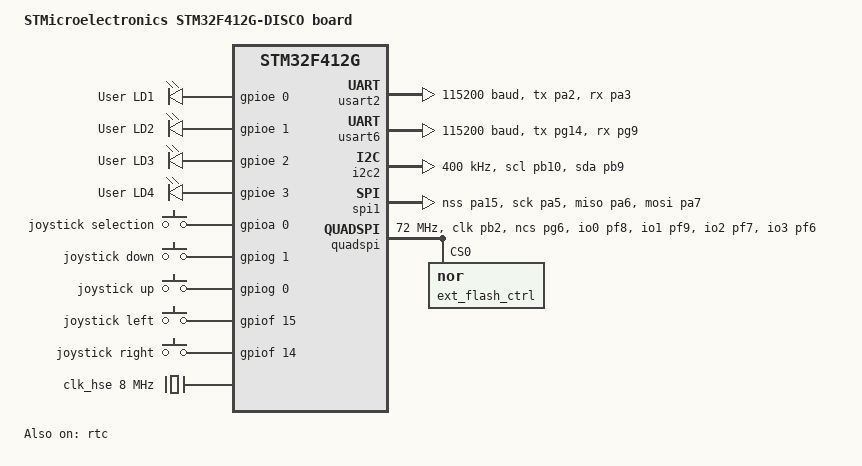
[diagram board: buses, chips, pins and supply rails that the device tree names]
/*
 * Copyright (c) 2017 Powersoft
 *
 * SPDX-License-Identifier: Apache-2.0
 */

/dts-v1/;
#include <st/f4/stm32f412Xg.dtsi>
#include <st/f4/stm32f412z(e-g)tx-pinctrl.dtsi>
#include "arduino_r3_connector.dtsi"
#include <zephyr/dt-bindings/input/input-event-codes.h>

/ {
	model = "STMicroelectronics STM32F412G-DISCO board";
	compatible = "st,stm32f412g-disco";

	chosen {
		zephyr,console = &usart2;
		zephyr,shell-uart = &usart2;
		zephyr,sram = &sram0;
		zephyr,flash = &flash0;
	};

	leds {
		compatible = "gpio-leds";

		green_led_1: led_1 {
			gpios = <&gpioe 0 GPIO_ACTIVE_HIGH>;
			label = "User LD1";
		};

		orange_led_2: led_2 {
			gpios = <&gpioe 1 GPIO_ACTIVE_HIGH>;
			label = "User LD2";
		};

		red_led_3: led_3 {
			gpios = <&gpioe 2 GPIO_ACTIVE_HIGH>;
			label = "User LD3";
		};

		blue_led_4: led_4 {
			gpios = <&gpioe 3 GPIO_ACTIVE_HIGH>;
			label = "User LD4";
		};
	};

	gpio_keys {
		compatible = "gpio-keys";

		joy_sel: joystick_selection {
			label = "joystick selection";
			gpios = <&gpioa 0 (GPIO_ACTIVE_HIGH | GPIO_PULL_DOWN)>;
			zephyr,code = <INPUT_KEY_ENTER>;
		};

		joy_down: joystick_down {
			label = "joystick down";
			gpios = <&gpiog 1 (GPIO_ACTIVE_HIGH | GPIO_PULL_DOWN)>;
			zephyr,code = <INPUT_KEY_DOWN>;
		};

		joy_up: joystick_up {
			label = "joystick up";
			gpios = <&gpiog 0 (GPIO_ACTIVE_HIGH | GPIO_PULL_DOWN)>;
			zephyr,code = <INPUT_KEY_UP>;
		};

		joy_left: joystick_left {
			label = "joystick left";
			gpios = <&gpiof 15 (GPIO_ACTIVE_HIGH | GPIO_PULL_DOWN)>;
			zephyr,code = <INPUT_KEY_LEFT>;
		};

		joy_right: joystick_right {
			label = "joystick right";
			gpios = <&gpiof 14 (GPIO_ACTIVE_HIGH | GPIO_PULL_DOWN)>;
			zephyr,code = <INPUT_KEY_RIGHT>;
		};
	};

	aliases {
		led0 = &green_led_1;
		led1 = &orange_led_2;
		led2 = &red_led_3;
		led3 = &blue_led_4;
		sw0 = &joy_sel;
		ext-nor0 = &ext_flash_ctrl;
	};
};

&clk_lsi {
	status = "okay";
};

&clk_hse {
	hse-bypass;
	clock-frequency = <DT_FREQ_M(8)>; /* STLink 8MHz clock */
	status = "okay";
};

&pll {
	div-m = <4>;
	mul-n = <100>;
	div-p = <2>;
	div-q = <8>;
	clocks = <&clk_hse>;
	status = "okay";
};

&rcc {
	clocks = <&pll>;
	clock-frequency = <DT_FREQ_M(100)>;
	ahb-prescaler = <1>;
	apb1-prescaler = <2>;
	apb2-prescaler = <1>;
};

&usart2 {
	pinctrl-0 = <&usart2_tx_pa2 &usart2_rx_pa3>;
	pinctrl-names = "default";
	current-speed = <115200>;
	status = "okay";
};

&usart6 {
	pinctrl-0 = <&usart6_tx_pg14 &usart6_rx_pg9>;
	pinctrl-names = "default";
	current-speed = <115200>;
	status = "okay";
};

&i2c2 {
	pinctrl-0 = <&i2c2_scl_pb10 &i2c2_sda_pb9>;
	pinctrl-names = "default";
	scl-gpios = <&gpiob 10 GPIO_ACTIVE_HIGH>;
	sda-gpios = <&gpiob 9 GPIO_ACTIVE_HIGH>;
	clock-frequency = <I2C_BITRATE_FAST>;
	status = "okay";
};

&spi1 {
	pinctrl-0 = <&spi1_nss_pa15 &spi1_sck_pa5
		     &spi1_miso_pa6 &spi1_mosi_pa7>;
	pinctrl-names = "default";
	status = "okay";
};

&rtc {
	clocks = <&rcc STM32_CLOCK(APB1, 28)>,
		 <&rcc STM32_SRC_LSI RTC_SEL(2)>;
	status = "okay";
};

&quadspi {
	compatible = "st,stm32-qspi-controller";
	clock-names = "qspix";
	clock-frequency = <DT_FREQ_M(72)>;
	op-mode = "MSPI_OP_MODE_CONTROLLER";
	st,cs-high-time = <4>; /* >= 50 ns */
	pinctrl-0 = <&quadspi_clk_pb2 &quadspi_bk1_ncs_pg6
		     &quadspi_bk1_io0_pf8 &quadspi_bk1_io1_pf9
		     &quadspi_bk1_io2_pf7 &quadspi_bk1_io3_pf6>;
	pinctrl-names = "default";
	status = "okay";

	ext_flash_ctrl: nor-flash-controller@0 {
		compatible = "jedec,nor";
		reg = <0>;
		size = <DT_SIZE_M(128)>; /* 128 Mbits */
		jedec-id = [20 ba 18]; /* N25Q128A */
		sfdp-bfp = [e5 20 f1 ff ff ff ff 07
			    29 eb 27 6b 08 3b 27 bb
			    ff ff ff ff ff ff 27 bb
			    ff ff 29 eb 0c 20 10 d8
			    00 00 00 00];
		mspi-max-frequency = <DT_FREQ_M(72)>;
		mspi-io-mode = "MSPI_IO_MODE_SINGLE";
		mspi-data-rate = "MSPI_DATA_RATE_SINGLE";
		mspi-hardware-ce-num = <0>;
		status = "okay";
	};
};
